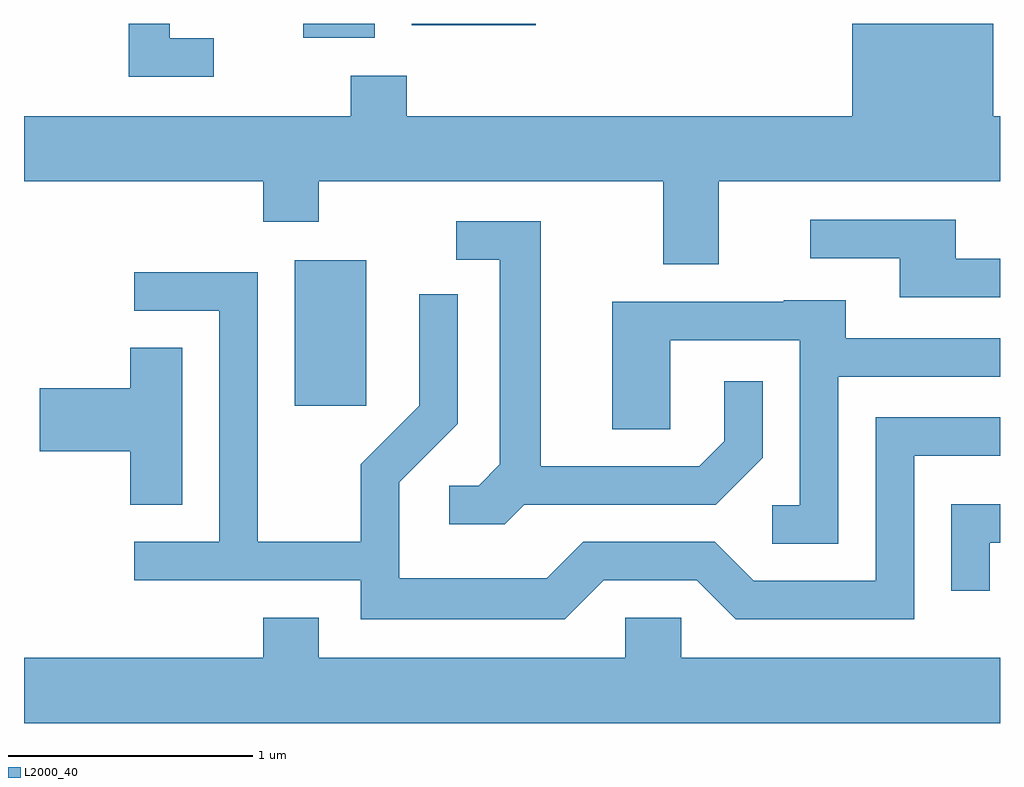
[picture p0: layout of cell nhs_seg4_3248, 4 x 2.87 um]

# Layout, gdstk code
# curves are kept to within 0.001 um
import gdstk
lib = gdstk.Library(unit=1e-6, precision=1e-09)
def R(c, l, rs):  # rectangles x0, y0, x1, y1
    for r in rs: c.add(gdstk.rectangle(r[:2], r[2:], *l))
def P(c, l, *ps):  # polygons
    for p in ps: c.add(gdstk.Polygon(p, *l))
L2000_40 = (2000, 40)

nhs_seg4_3248 = lib.new_cell('nhs_seg4_3248')
R(nhs_seg4_3248, L2000_40, [(280.721,1360.416,281.014,1361.014), (280.756,1361.926,281.049,1361.982), (281.201,1361.976,281.708,1361.982)])
P(nhs_seg4_3248, L2000_40, [(282.459,1361.336),(283.611,1361.336),(283.611,1361.604),(283.584,1361.604),(283.584,1361.982),(283.006,1361.982),(283.006,1361.604),(281.179,1361.604),(281.179,1361.769),(280.951,1361.769),(280.951,1361.604),(279.611,1361.604),(279.611,1361.336),(280.591,1361.336),(280.591,1361.171),(280.819,1361.171),(280.819,1361.336),(282.231,1361.336),(282.231,1360.996),(282.459,1360.996)],
  [(280.388,1361.924),(280.209,1361.924),(280.209,1361.982),(280.041,1361.982),(280.041,1361.766),(280.388,1361.766)],
  [(283.611,1361.019),(283.429,1361.019),(283.429,1361.179),(282.833,1361.179),(282.833,1361.021),(283.201,1361.021),(283.201,1360.861),(283.611,1360.861)],
  [(281.662,1360.011),(282.447,1360.011),(282.639,1360.204),(282.639,1360.518),(282.481,1360.518),(282.481,1360.272),(282.379,1360.169),(281.729,1360.169),(281.729,1361.174),(281.383,1361.174),(281.383,1361.016),(281.561,1361.016),(281.561,1360.177),(281.474,1360.089),(281.353,1360.089),(281.353,1359.931),(281.582,1359.931)],
  [(281.987,1359.701),(282.369,1359.701),(282.529,1359.541),(283.259,1359.541),(283.259,1360.211),(283.611,1360.211),(283.611,1360.369),(283.101,1360.369),(283.101,1359.699),(282.602,1359.699),(282.442,1359.859),(281.904,1359.859),(281.754,1359.709),(281.149,1359.709),(281.149,1360.104),(281.389,1360.344),(281.389,1360.873),(281.231,1360.873),(281.231,1360.417),(280.991,1360.177),(280.991,1359.859),(280.569,1359.859),(280.569,1360.964),(280.063,1360.964),(280.063,1360.806),(280.411,1360.806),(280.411,1359.859),(280.063,1359.859),(280.063,1359.701),(280.991,1359.701),(280.991,1359.541),(281.827,1359.541)],
  [(282.949,1360.536),(283.611,1360.536),(283.611,1360.694),(282.979,1360.694),(282.979,1360.849),(282.725,1360.849),(282.725,1360.844),(282.021,1360.844),(282.021,1360.321),(282.259,1360.321),(282.259,1360.686),(282.791,1360.686),(282.791,1360.009),(282.678,1360.009),(282.678,1359.851),(282.949,1359.851)],
  [(280.259,1360.654),(280.046,1360.654),(280.046,1360.489),(279.676,1360.489),(279.676,1360.231),(280.046,1360.231),(280.046,1360.011),(280.259,1360.011)],
  [(283.569,1359.856),(283.611,1359.856),(283.611,1360.014),(283.411,1360.014),(283.411,1359.658),(283.569,1359.658)],
  [(283.611,1359.384),(282.304,1359.384),(282.304,1359.549),(282.076,1359.549),(282.076,1359.384),(280.819,1359.384),(280.819,1359.549),(280.591,1359.549),(280.591,1359.384),(279.611,1359.384),(279.611,1359.116),(283.611,1359.116)])

lib.write_gds('nhs_seg4_3248.gds')
